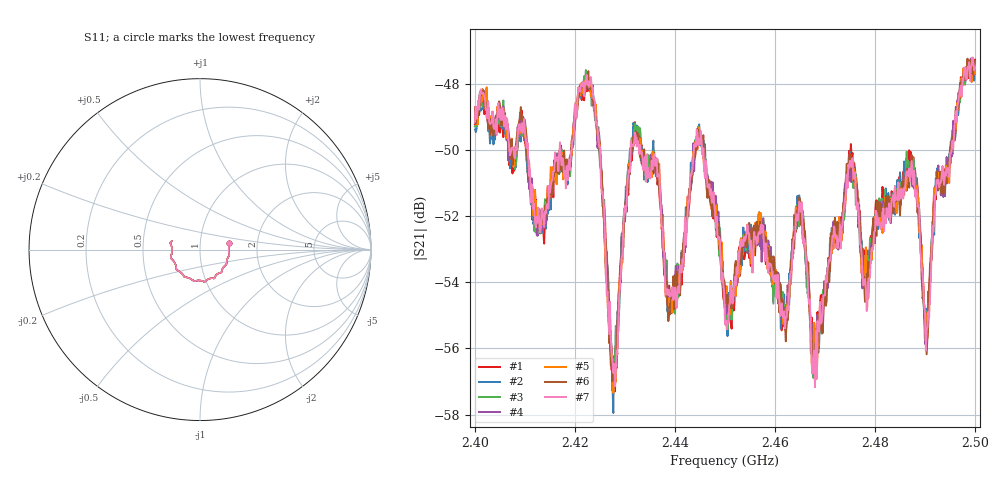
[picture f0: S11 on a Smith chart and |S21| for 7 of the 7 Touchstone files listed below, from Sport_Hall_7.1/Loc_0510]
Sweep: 2.4 GHz to 2.5 GHz
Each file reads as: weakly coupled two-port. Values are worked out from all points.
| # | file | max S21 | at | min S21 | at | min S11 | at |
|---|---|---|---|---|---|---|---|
| 1 | Lab_139_1Ch1.s2p | -47.28 dB | 2.5 GHz | -57.3 dB | 2.428 GHz | -15.7 dB | 2.4928 GHz |
| 2 | Lab_139_4Ch1.s2p | -47.46 dB | 2.4993 GHz | -58.0 dB | 2.4277 GHz | -15.7 dB | 2.493 GHz |
| 3 | Lab_139_5Ch1.s2p | -47.28 dB | 2.4995 GHz | -57.3 dB | 2.4275 GHz | -15.7 dB | 2.4932 GHz |
| 4 | Lab_139_7Ch1.s2p | -47.24 dB | 2.4992 GHz | -57.1 dB | 2.468 GHz | -15.7 dB | 2.4932 GHz |
| 5 | Lab_139_8Ch1.s2p | -47.30 dB | 2.4997 GHz | -57.3 dB | 2.4277 GHz | -15.7 dB | 2.4928 GHz |
| 6 | Lab_139_9Ch1.s2p | -47.25 dB | 2.4985 GHz | -57.0 dB | 2.4275 GHz | -15.7 dB | 2.4928 GHz |
| 7 | Lab_139_10Ch1.s2p | -47.20 dB | 2.4995 GHz | -57.2 dB | 2.468 GHz | -15.7 dB | 2.4932 GHz |
